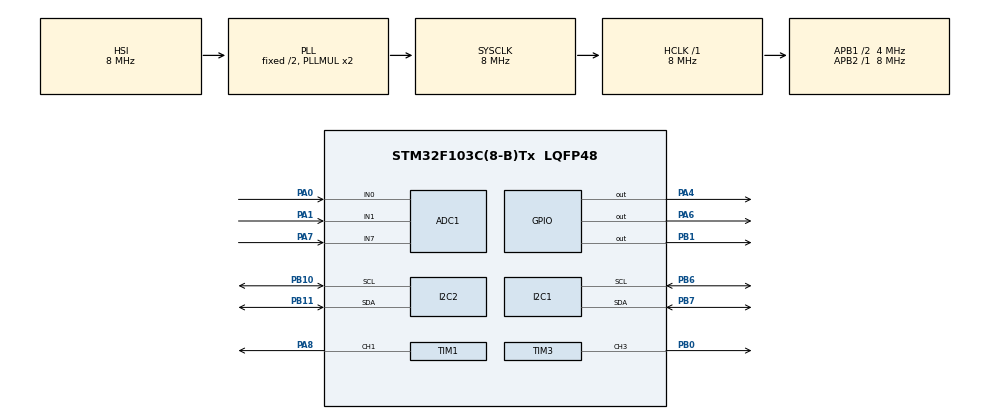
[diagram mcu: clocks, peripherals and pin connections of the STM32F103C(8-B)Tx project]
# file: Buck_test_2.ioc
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ADC1.Channel-0\#ChannelRegularConversion=ADC_CHANNEL_0
ADC1.NbrOfConversionFlag=1
ADC1.Rank-0\#ChannelRegularConversion=1
ADC1.SamplingTime-0\#ChannelRegularConversion=ADC_SAMPLETIME_1CYCLE_5
ADC1.master=1
Mcu.Family=STM32F1
Mcu.Name=STM32F103C(8-B)Tx
Mcu.Package=LQFP48
NVIC.PriorityGroup=NVIC_PRIORITYGROUP_4
NVIC.TIM3_IRQn=true\:0\:0\:false\:false\:true\:true\:true\:true
PA0-WKUP.Signal=ADCx_IN0
PA1.Signal=ADCx_IN1
PA13.Mode=Serial_Wire
PA13.Signal=SYS_JTMS-SWDIO
PA14.Mode=Serial_Wire
PA14.Signal=SYS_JTCK-SWCLK
PA4.Signal=GPIO_Output
PA6.Signal=GPIO_Output
PA7.Signal=ADCx_IN7
PA8.Signal=S_TIM1_CH1
PB0.Signal=S_TIM3_CH3
PB1.Signal=GPIO_Output
PB10.Mode=I2C
PB10.Signal=I2C2_SCL
PB11.Mode=I2C
PB11.Signal=I2C2_SDA
PB6.Mode=I2C
PB6.Signal=I2C1_SCL
PB7.Mode=I2C
PB7.Signal=I2C1_SDA
ProjectManager.HeapSize=0x200
ProjectManager.StackSize=0x400
ProjectManager.TargetToolchain=STM32CubeIDE
RCC.AHBFreq_Value=8000000
RCC.APB1CLKDivider=RCC_HCLK_DIV2
RCC.APB1Freq_Value=4000000
RCC.APB1TimFreq_Value=8000000
RCC.APB2Freq_Value=8000000
RCC.APB2TimFreq_Value=8000000
RCC.HCLKFreq_Value=8000000
RCC.SYSCLKFreq_VALUE=8000000
RCC.SYSCLKSource=RCC_SYSCLKSOURCE_PLLCLK
RCC.USBFreq_Value=8000000
SH.ADCx_IN0.0=ADC1_IN0,IN0
SH.ADCx_IN1.0=ADC1_IN1,IN1
SH.ADCx_IN7.0=ADC1_IN7,IN7
SH.S_TIM1_CH1.0=TIM1_CH1,PWM Generation1 CH1
SH.S_TIM3_CH3.0=TIM3_CH3,PWM Generation3 CH3
TIM1.AutoReloadPreload=TIM_AUTORELOAD_PRELOAD_ENABLE
TIM1.Channel-PWM\ Generation1\ CH1=TIM_CHANNEL_1
TIM1.Period=1828
TIM1.TIM_MasterOutputTrigger=TIM_TRGO_ENABLE
TIM1.TIM_MasterSlaveMode=TIM_MASTERSLAVEMODE_ENABLE
TIM3.Channel-PWM\ Generation3\ CH3=TIM_CHANNEL_3
TIM3.Period=1828
VP_ADC1_Vref_Input.Mode=IN-Vrefint
VP_TIM1_VS_ClockSourceINT.Mode=Internal
VP_TIM3_VS_ClockSourceINT.Mode=Internal
VP_TIM3_VS_ClockSourceITR.Mode=TriggerSource_ITR0
VP_TIM3_VS_ControllerModeTrigger.Mode=Trigger Mode
board=custom

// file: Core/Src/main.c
/* USER CODE BEGIN Header */
/**
  ******************************************************************************
  * @file           : main.c
  * @brief          : Main program body (Seamless MPPT Buck-Boost)
  ******************************************************************************
  */
/* USER CODE END Header */
#include "main.h"

/* USER CODE BEGIN Includes */
#include "i2c-lcd.h"
#include "ina219.h"
#include <stdio.h>
/* USER CODE END Includes */

/* USER CODE BEGIN PD */
#define PWM_MIN 91   // 5% Duty Cycle
#define PWM_MAX 1646 // 90% Duty Cycle
#define VREF 3.3f
#define ADC_MAX 4095.0f

// Hệ số cầu chia áp
#define DIVIDER_VIN 11.0f  // (100k + 10k) / 10k
#define DIVIDER_VOUT 11.0f // (100k + 10k) / 10k
#define DIVIDER_ACS 2.0f   // (10k + 10k) / 10k

// Thông số ACS712
#define ACS712_SENSITIVITY 0.100f
#define ACS712_OFFSET 2.5f
#define EMA_ALPHA 0.1f
/* USER CODE END PD */

ADC_HandleTypeDef hadc1;

I2C_HandleTypeDef hi2c1;
I2C_HandleTypeDef hi2c2;

TIM_HandleTypeDef htim1;
TIM_HandleTypeDef htim3;

/* USER CODE BEGIN PV */
/* USER CODE BEGIN PV */
INA219_HandleTypeDef hina219;
const float VREFINT_VOLTAGE = 1.20f;
float dynamic_ADC_REF = 3.3f;

// Biến lưu trữ cho thuật toán MPPT P&O
float p_in_prev = 0.0f;
float v_in_prev = 0.0f;
float mppt_step = 0.5f;
float power_threshold = 0.1f;

float v_in = 0.0f;
float v_out = 0.0f;
float i_in = 0.0f;
float i_out = 0.0f;

float i_out_filtered = 0.0f;
float v_in_filtered = 0.0f;
float v_out_filtered = 0.0f;

// --- BIẾN ĐIỀU KHIỂN BUCK-BOOST ---
float current_duty_buck = 90.0f;
float current_duty_boost = 90.0f;

// Biến cho bộ đếm thời gian phân luồng tác vụ
uint32_t last_lcd_time = 0;
uint32_t last_measure_time = 0;
uint32_t last_mppt_time = 0;
/* USER CODE END PV */

void SystemClock_Config(void);
static void MX_GPIO_Init(void);
static void MX_TIM1_Init(void);
static void MX_TIM3_Init(void);
static void MX_ADC1_Init(void);
static void MX_I2C1_Init(void);
static void MX_I2C2_Init(void);
/* USER CODE BEGIN PFP */
void Control_Loop(void);
/* USER CODE END PFP */

/* USER CODE BEGIN 0 */
void Set_PWM_Safe(TIM_HandleTypeDef *htim, uint32_t Channel, float duty_percent)
{
    uint32_t ccr_val = (uint32_t)((duty_percent / 100.0) * 1828.0);
    if (ccr_val < PWM_MIN) ccr_val = PWM_MIN;
    if (ccr_val > PWM_MAX) ccr_val = PWM_MAX;
    __HAL_TIM_SET_COMPARE(htim, Channel, ccr_val);
}

uint32_t Read_ADC_Channel(uint32_t channel)
{
    ADC_ChannelConfTypeDef sConfig = {0};
    sConfig.Channel = channel;
    sConfig.Rank = ADC_REGULAR_RANK_1;
    sConfig.SamplingTime = ADC_SAMPLETIME_71CYCLES_5;

    HAL_ADC_ConfigChannel(&hadc1, &sConfig);
    HAL_ADC_Start(&hadc1);
    HAL_ADC_PollForConversion(&hadc1, 10);
    uint32_t adc_value = HAL_ADC_GetValue(&hadc1);
    HAL_ADC_Stop(&hadc1);

    return adc_value;
}
/* Hàm tự động tính toán lại điện áp nguồn thực tế của STM32 */
// THÊM LẠI HÀM LỌC EMA BỊ THIẾU
float EMA(float input, float previous) {
    return EMA_ALPHA * input + (1.0f - EMA_ALPHA) * previous;
}

/* Hàm tự động tính toán lại điện áp nguồn thực tế của STM32 */
void Calibrate_VDDA(void) {
    // ĐÃ SỬA LẠI TÊN HÀM CHO ĐÚNG: Read_ADC_Channel
    uint32_t vrefint_adc = Read_ADC_Channel(ADC_CHANNEL_VREFINT);

    if (vrefint_adc > 0) { // Tránh lỗi chia cho 0
        // Tính ra VDDA thực tế đang là bao nhiêu
        float current_vdda = (VREFINT_VOLTAGE * 4095.0f) / (float)vrefint_adc;

        // Đưa qua bộ lọc EMA
        dynamic_ADC_REF = EMA(current_vdda, dynamic_ADC_REF);
    }
}

void Control_Loop(void)
{
    float p_in = v_in * i_in;
    float delta_p = p_in - p_in_prev;
    float delta_v = v_in - v_in_prev;

    int mppt_dir = 0;

    // =========================================================
    // 1. CƠ CHẾ MỒI DÒNG (KICKSTART) - Phá vỡ trạng thái đóng băng
    // =========================================================
    if (i_in < 0.1f) { // Dòng điện < 50mA (Gần như không có dòng chảy qua)
        // Bỏ qua P&O, ép mạch phải "rút thêm dòng" để mồi điện áp lên cao
        mppt_dir = 1;
    }
    // =========================================================
    // 2. THUẬT TOÁN P&O (Chạy bình thường khi đã có dòng điện)
    // =========================================================
    else if (delta_p > power_threshold || delta_p < -power_threshold) {
        if (delta_p > 0) {
            if (delta_v > 0) mppt_dir = -1;
            else             mppt_dir = 1;
        } else {
            if (delta_v > 0) mppt_dir = 1;
            else             mppt_dir = -1;
        }
    }

    // =========================================================
    // 3. THỰC THI MPPT TRƯỢT MƯỢT MÀ (50% - 90%)
    // =========================================================
    if (mppt_dir == 1) {
        // CẦN RÚT THÊM DÒNG (Mồi áp)
        if (current_duty_buck < 90.0f) {
            current_duty_buck += mppt_step;  // Mở dần Buck trước
        } else {
            current_duty_boost -= mppt_step; // Ép Boost mạnh lên (hạ PWM về 50%) để đẩy áp qua diode
        }
    }
    else if (mppt_dir == -1) {
        // CẦN GIẢM DÒNG RÚT
        if (current_duty_boost < 90.0f) {
            current_duty_boost += mppt_step; // Xả bớt Boost
        } else {
            current_duty_buck -= mppt_step;  // Khép dần Buck
        }
    }

    // KHÓA BIÊN ĐỘ AN TOÀN QUY ƯỚC
    if (current_duty_buck < 5.0f)  current_duty_buck = 5.0f;
    if (current_duty_buck > 90.0f)  current_duty_buck = 90.0f;

    if (current_duty_boost < 70.0f) current_duty_boost = 70.0f;
    if (current_duty_boost > 90.0f) current_duty_boost = 90.0f;

    Set_PWM_Safe(&htim3, TIM_CHANNEL_3, current_duty_buck);
    Set_PWM_Safe(&htim1, TIM_CHANNEL_1, current_duty_boost);

    p_in_prev = p_in;
    v_in_prev = v_in;
}
/* USER CODE END 0 */

int main(void)
{

  /* MCU Configuration--------------------------------------------------------*/

  /* Reset of all peripherals, Initializes the Flash interface and the Systick. */
  HAL_Init();

  /* Configure the system clock */
  SystemClock_Config();

  /* Initialize all configured peripherals */
  MX_GPIO_Init();
  MX_TIM1_Init();
  MX_TIM3_Init();
  MX_ADC1_Init();
  MX_I2C1_Init();
  MX_I2C2_Init();
  /* USER CODE BEGIN 2 */
  HAL_GPIO_WritePin(GPIOB, GPIO_PIN_1, GPIO_PIN_SET);
  HAL_GPIO_WritePin(GPIOA, GPIO_PIN_6, GPIO_PIN_SET);

  HAL_TIM_PWM_Start(&htim3, TIM_CHANNEL_3);
  HAL_TIM_PWM_Start(&htim1, TIM_CHANNEL_1);

  lcd_init();
  lcd_clear_display();
  lcd_goto_XY(1, 0);
  lcd_send_string("MPPT Buck-Boost");
  HAL_Delay(1000);
  lcd_clear_display();

  INA219_Init(&hina219, &hi2c2, 0x40);
  HAL_ADCEx_Calibration_Start(&hadc1);

  char lcd_buffer[21];

  // Khởi tạo thời gian cho các luồng tác vụ
  uint32_t tick_start = HAL_GetTick();
  last_lcd_time = tick_start;
  last_measure_time = tick_start;
  last_mppt_time = tick_start;

  HAL_GPIO_WritePin(GPIOA, GPIO_PIN_4, GPIO_PIN_SET);
  /* USER CODE END 2 */

  /* Infinite loop */
  /* USER CODE BEGIN WHILE */
  while (1)
  {

      uint32_t current_time = HAL_GetTick();

      // ==========================================================
      // TASK 1: ĐO LƯỜNG & LỌC NHIỄU (Chạy nhanh mỗi 10ms)
      // ==========================================================
      if (current_time - last_measure_time >= 10)
      {
          last_measure_time = current_time;
          Calibrate_VDDA();

          i_in = INA219_GetCurrent_A(&hina219) * 2;

          // Lọc Vin (Kênh 7)
          uint32_t adc_vin_sum = 0;
          for(int i = 0; i < 10; i++) adc_vin_sum += Read_ADC_Channel(ADC_CHANNEL_7);
          float adc_vin_avg = (float)adc_vin_sum / 10.0f;
          float v_in_raw = (adc_vin_avg / ADC_MAX) * VREF * DIVIDER_VIN;
          v_in_filtered = (EMA_ALPHA * v_in_raw) + ((1.0f - EMA_ALPHA) * v_in_filtered);
          v_in = v_in_filtered;

          // Lọc Vout (Kênh 0)
          uint32_t adc_vout_sum = 0;
          for(int i = 0; i < 10; i++) adc_vout_sum += Read_ADC_Channel(ADC_CHANNEL_0);
          float adc_vout_avg = (float)adc_vout_sum / 10.0f;
          float v_out_raw = (adc_vout_avg / ADC_MAX) * VREF * DIVIDER_VOUT;
          v_out_filtered = (EMA_ALPHA * v_out_raw) + ((1.0f - EMA_ALPHA) * v_out_filtered);
          v_out = v_out_filtered;

          // Lọc Iout (Kênh 1)
          uint32_t adc_acs_sum = 0;
          for(int i = 0; i < 10; i++) adc_acs_sum += Read_ADC_Channel(ADC_CHANNEL_1);
          float adc_acs_avg = (float)adc_acs_sum / 10.0f;
          float v_acs_mcu = (adc_acs_avg / ADC_MAX) * VREF;
          float v_acs_actual = v_acs_mcu * DIVIDER_ACS;
          float i_out_raw = (v_acs_actual - ACS712_OFFSET) / ACS712_SENSITIVITY;
          i_out_filtered = (EMA_ALPHA * i_out_raw) + ((1.0f - EMA_ALPHA) * i_out_filtered);

          if (i_out_filtered < 0.05f && i_out_filtered > -0.05f) {
              i_out = 0.0f;
          } else {
              i_out = i_out_filtered;
          }
          i_out = i_out - (v_out-13.4f)/4.0f;

      }

      // ==========================================================
      // TASK 2: ĐIỀU KHIỂN MPPT (Chạy chậm mỗi 100ms tránh EMI)
      // ==========================================================
      if (current_time - last_mppt_time >= 10)
      {
          last_mppt_time = current_time;

          if (v_in >= 1.0f) {
              Control_Loop();
          } else {
              Set_PWM_Safe(&htim3, TIM_CHANNEL_3, 90.0f);
              Set_PWM_Safe(&htim1, TIM_CHANNEL_1, 90.0f);
          }
      }

      // ==========================================================
      // TASK 3: HIỂN THỊ LCD (Cập nhật mỗi 500ms chống treo I2C)
      // ==========================================================
      if (current_time - last_lcd_time >= 500)
      {
          last_lcd_time = current_time;

          lcd_goto_XY(1, 0);
          sprintf(lcd_buffer, "Vi:%.1fV,Vo:%.1fV  ", v_in, v_out);
          lcd_send_string(lcd_buffer);

          lcd_goto_XY(2, 0);
          sprintf(lcd_buffer, "Ii:%.1fA,Io:%.1fA  ", i_in, i_out);
          lcd_send_string(lcd_buffer);

		lcd_goto_XY(3, 0);
		sprintf(lcd_buffer, "Bck:%.0f%% Bst:%.0f%%  ", current_duty_buck, current_duty_boost);
		lcd_send_string(lcd_buffer);
      }
    /* USER CODE END WHILE */

  }
}

void SystemClock_Config(void)
{
  RCC_OscInitTypeDef RCC_OscInitStruct = {0};
  RCC_ClkInitTypeDef RCC_ClkInitStruct = {0};
  RCC_PeriphCLKInitTypeDef PeriphClkInit = {0};

  /** Initializes the RCC Oscillators according to the specified parameters
  * in the RCC_OscInitTypeDef structure.
  */
  RCC_OscInitStruct.OscillatorType = RCC_OSCILLATORTYPE_HSI;
  RCC_OscInitStruct.HSIState = RCC_HSI_ON;
  RCC_OscInitStruct.HSICalibrationValue = RCC_HSICALIBRATION_DEFAULT;
  RCC_OscInitStruct.PLL.PLLState = RCC_PLL_ON;
  RCC_OscInitStruct.PLL.PLLSource = RCC_PLLSOURCE_HSI_DIV2;
  RCC_OscInitStruct.PLL.PLLMUL = RCC_PLL_MUL2;
  if (HAL_RCC_OscConfig(&RCC_OscInitStruct) != HAL_OK)
  {
    Error_Handler();
  }

  /** Initializes the CPU, AHB and APB buses clocks
  */
  RCC_ClkInitStruct.ClockType = RCC_CLOCKTYPE_HCLK|RCC_CLOCKTYPE_SYSCLK
                              |RCC_CLOCKTYPE_PCLK1|RCC_CLOCKTYPE_PCLK2;
  RCC_ClkInitStruct.SYSCLKSource = RCC_SYSCLKSOURCE_PLLCLK;
  RCC_ClkInitStruct.AHBCLKDivider = RCC_SYSCLK_DIV1;
  RCC_ClkInitStruct.APB1CLKDivider = RCC_HCLK_DIV2;
  RCC_ClkInitStruct.APB2CLKDivider = RCC_HCLK_DIV1;

  if (HAL_RCC_ClockConfig(&RCC_ClkInitStruct, FLASH_LATENCY_0) != HAL_OK)
  {
    Error_Handler();
  }
  PeriphClkInit.PeriphClockSelection = RCC_PERIPHCLK_ADC;
  PeriphClkInit.AdcClockSelection = RCC_ADCPCLK2_DIV2;
  if (HAL_RCCEx_PeriphCLKConfig(&PeriphClkInit) != HAL_OK)
  {
    Error_Handler();
  }
}

static void MX_ADC1_Init(void)
{

  ADC_ChannelConfTypeDef sConfig = {0};

  /** Common config
  */
  hadc1.Instance = ADC1;
  hadc1.Init.ScanConvMode = ADC_SCAN_DISABLE;
  hadc1.Init.ContinuousConvMode = DISABLE;
  hadc1.Init.DiscontinuousConvMode = DISABLE;
  hadc1.Init.ExternalTrigConv = ADC_SOFTWARE_START;
  hadc1.Init.DataAlign = ADC_DATAALIGN_RIGHT;
  hadc1.Init.NbrOfConversion = 1;
  if (HAL_ADC_Init(&hadc1) != HAL_OK)
  {
    Error_Handler();
  }

  /** Configure Regular Channel
  */
  sConfig.Channel = ADC_CHANNEL_0;
  sConfig.Rank = ADC_REGULAR_RANK_1;
  sConfig.SamplingTime = ADC_SAMPLETIME_1CYCLE_5;
  if (HAL_ADC_ConfigChannel(&hadc1, &sConfig) != HAL_OK)
  {
    Error_Handler();
  }

}

static void MX_I2C1_Init(void)
{

  hi2c1.Instance = I2C1;
  hi2c1.Init.ClockSpeed = 100000;
  hi2c1.Init.DutyCycle = I2C_DUTYCYCLE_2;
  hi2c1.Init.OwnAddress1 = 0;
  hi2c1.Init.AddressingMode = I2C_ADDRESSINGMODE_7BIT;
  hi2c1.Init.DualAddressMode = I2C_DUALADDRESS_DISABLE;
  hi2c1.Init.OwnAddress2 = 0;
  hi2c1.Init.GeneralCallMode = I2C_GENERALCALL_DISABLE;
  hi2c1.Init.NoStretchMode = I2C_NOSTRETCH_DISABLE;
  if (HAL_I2C_Init(&hi2c1) != HAL_OK)
  {
    Error_Handler();
  }

}

static void MX_I2C2_Init(void)
{

  hi2c2.Instance = I2C2;
  hi2c2.Init.ClockSpeed = 100000;
  hi2c2.Init.DutyCycle = I2C_DUTYCYCLE_2;
  hi2c2.Init.OwnAddress1 = 0;
  hi2c2.Init.AddressingMode = I2C_ADDRESSINGMODE_7BIT;
  hi2c2.Init.DualAddressMode = I2C_DUALADDRESS_DISABLE;
  hi2c2.Init.OwnAddress2 = 0;
  hi2c2.Init.GeneralCallMode = I2C_GENERALCALL_DISABLE;
  hi2c2.Init.NoStretchMode = I2C_NOSTRETCH_DISABLE;
  if (HAL_I2C_Init(&hi2c2) != HAL_OK)
  {
    Error_Handler();
  }

}

static void MX_TIM1_Init(void)
{

  TIM_ClockConfigTypeDef sClockSourceConfig = {0};
  TIM_MasterConfigTypeDef sMasterConfig = {0};
  TIM_OC_InitTypeDef sConfigOC = {0};
  TIM_BreakDeadTimeConfigTypeDef sBreakDeadTimeConfig = {0};

  htim1.Instance = TIM1;
  htim1.Init.Prescaler = 0;
  htim1.Init.CounterMode = TIM_COUNTERMODE_UP;
  htim1.Init.Period = 1828;
  htim1.Init.ClockDivision = TIM_CLOCKDIVISION_DIV1;
  htim1.Init.RepetitionCounter = 0;
  htim1.Init.AutoReloadPreload = TIM_AUTORELOAD_PRELOAD_ENABLE;
  if (HAL_TIM_Base_Init(&htim1) != HAL_OK)
  {
    Error_Handler();
  }
  sClockSourceConfig.ClockSource = TIM_CLOCKSOURCE_INTERNAL;
  if (HAL_TIM_ConfigClockSource(&htim1, &sClockSourceConfig) != HAL_OK)
  {
    Error_Handler();
  }
  if (HAL_TIM_PWM_Init(&htim1) != HAL_OK)
  {
    Error_Handler();
  }
  sMasterConfig.MasterOutputTrigger = TIM_TRGO_ENABLE;
  sMasterConfig.MasterSlaveMode = TIM_MASTERSLAVEMODE_ENABLE;
  if (HAL_TIMEx_MasterConfigSynchronization(&htim1, &sMasterConfig) != HAL_OK)
  {
    Error_Handler();
  }
  sConfigOC.OCMode = TIM_OCMODE_PWM1;
  sConfigOC.Pulse = 0;
  sConfigOC.OCPolarity = TIM_OCPOLARITY_HIGH;
  sConfigOC.OCNPolarity = TIM_OCNPOLARITY_HIGH;
  sConfigOC.OCFastMode = TIM_OCFAST_DISABLE;
  sConfigOC.OCIdleState = TIM_OCIDLESTATE_RESET;
  sConfigOC.OCNIdleState = TIM_OCNIDLESTATE_RESET;
  if (HAL_TIM_PWM_ConfigChannel(&htim1, &sConfigOC, TIM_CHANNEL_1) != HAL_OK)
  {
    Error_Handler();
  }
  sBreakDeadTimeConfig.OffStateRunMode = TIM_OSSR_DISABLE;
  sBreakDeadTimeConfig.OffStateIDLEMode = TIM_OSSI_DISABLE;
  sBreakDeadTimeConfig.LockLevel = TIM_LOCKLEVEL_OFF;
  sBreakDeadTimeConfig.DeadTime = 0;
  sBreakDeadTimeConfig.BreakState = TIM_BREAK_DISABLE;
  sBreakDeadTimeConfig.BreakPolarity = TIM_BREAKPOLARITY_HIGH;
  sBreakDeadTimeConfig.AutomaticOutput = TIM_AUTOMATICOUTPUT_DISABLE;
  if (HAL_TIMEx_ConfigBreakDeadTime(&htim1, &sBreakDeadTimeConfig) != HAL_OK)
  {
    Error_Handler();
  }
  HAL_TIM_MspPostInit(&htim1);

}

static void MX_TIM3_Init(void)
{

  TIM_ClockConfigTypeDef sClockSourceConfig = {0};
  TIM_SlaveConfigTypeDef sSlaveConfig = {0};
  TIM_MasterConfigTypeDef sMasterConfig = {0};
  TIM_OC_InitTypeDef sConfigOC = {0};

  htim3.Instance = TIM3;
  htim3.Init.Prescaler = 0;
  htim3.Init.CounterMode = TIM_COUNTERMODE_UP;
  htim3.Init.Period = 1828;
  htim3.Init.ClockDivision = TIM_CLOCKDIVISION_DIV1;
  htim3.Init.AutoReloadPreload = TIM_AUTORELOAD_PRELOAD_DISABLE;
  if (HAL_TIM_Base_Init(&htim3) != HAL_OK)
  {
    Error_Handler();
  }
  sClockSourceConfig.ClockSource = TIM_CLOCKSOURCE_INTERNAL;
  if (HAL_TIM_ConfigClockSource(&htim3, &sClockSourceConfig) != HAL_OK)
  {
    Error_Handler();
  }
  if (HAL_TIM_PWM_Init(&htim3) != HAL_OK)
  {
    Error_Handler();
  }
  sSlaveConfig.SlaveMode = TIM_SLAVEMODE_TRIGGER;
  sSlaveConfig.InputTrigger = TIM_TS_ITR0;
  if (HAL_TIM_SlaveConfigSynchro(&htim3, &sSlaveConfig) != HAL_OK)
  {
    Error_Handler();
  }
  sMasterConfig.MasterOutputTrigger = TIM_TRGO_RESET;
  sMasterConfig.MasterSlaveMode = TIM_MASTERSLAVEMODE_DISABLE;
  if (HAL_TIMEx_MasterConfigSynchronization(&htim3, &sMasterConfig) != HAL_OK)
  {
    Error_Handler();
  }
  sConfigOC.OCMode = TIM_OCMODE_PWM1;
  sConfigOC.Pulse = 0;
  sConfigOC.OCPolarity = TIM_OCPOLARITY_HIGH;
  sConfigOC.OCFastMode = TIM_OCFAST_DISABLE;
  if (HAL_TIM_PWM_ConfigChannel(&htim3, &sConfigOC, TIM_CHANNEL_3) != HAL_OK)
  {
    Error_Handler();
  }
  HAL_TIM_MspPostInit(&htim3);

}

static void MX_GPIO_Init(void)
{
  GPIO_InitTypeDef GPIO_InitStruct = {0};

  /* GPIO Ports Clock Enable */
  __HAL_RCC_GPIOA_CLK_ENABLE();
  __HAL_RCC_GPIOB_CLK_ENABLE();

  /*Configure GPIO pin Output Level */
  HAL_GPIO_WritePin(GPIOA, GPIO_PIN_4|GPIO_PIN_6, GPIO_PIN_RESET);

  /*Configure GPIO pin Output Level */
  HAL_GPIO_WritePin(GPIOB, GPIO_PIN_1, GPIO_PIN_RESET);

  /*Configure GPIO pins : PA4 PA6 */
  GPIO_InitStruct.Pin = GPIO_PIN_4|GPIO_PIN_6;
  GPIO_InitStruct.Mode = GPIO_MODE_OUTPUT_PP;
  GPIO_InitStruct.Pull = GPIO_NOPULL;
  GPIO_InitStruct.Speed = GPIO_SPEED_FREQ_LOW;
  HAL_GPIO_Init(GPIOA, &GPIO_InitStruct);

  /*Configure GPIO pin : PB1 */
  GPIO_InitStruct.Pin = GPIO_PIN_1;
  GPIO_InitStruct.Mode = GPIO_MODE_OUTPUT_PP;
  GPIO_InitStruct.Pull = GPIO_NOPULL;
  GPIO_InitStruct.Speed = GPIO_SPEED_FREQ_LOW;
  HAL_GPIO_Init(GPIOB, &GPIO_InitStruct);

}

void Error_Handler(void)
{
  __disable_irq();
  while (1)
  {
  }
}
